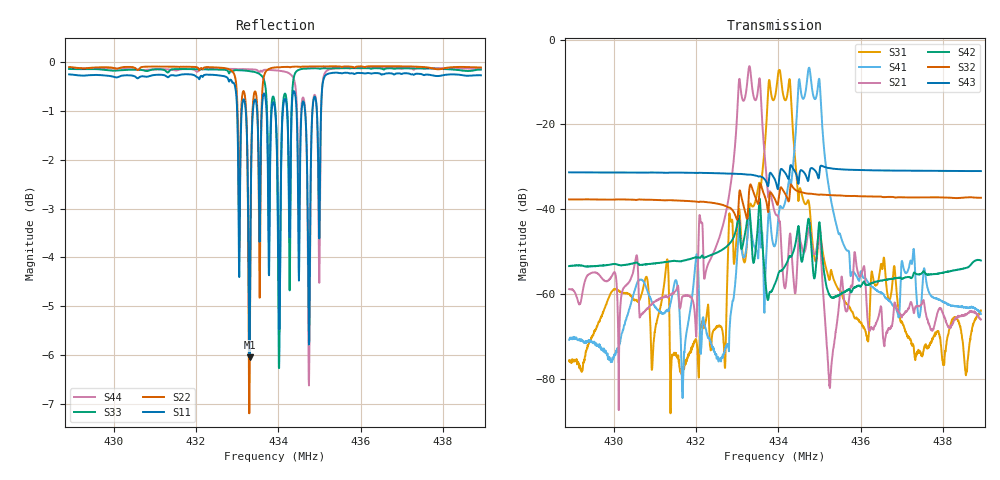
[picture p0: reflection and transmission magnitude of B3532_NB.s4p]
! Matrix data file written by TouchstoneData, EPCOS AG
! FILENAME: "newformat_LZ04A_NB.s4p"
! COMMENT: "(LZ04A_NB.s4p) Epcos AG 31.01.2012 10:23:42"
! INFO: nport=4, nfreq=1601
! DATE: "Tue Jan 31 14:53:53 2012"
! USER: "Wilfried Schott"
! port | pin | signal
!  1  |  1  |  IN
!  2  |  5  |  OUT CH3
!  3  |  6  |  OUT CH1
!  4  |  7  |  OUT CH2
# MHZ S MA R 50
! freq  magS11 angS11  magS12 angS12  magS13 angS13  magS14 angS14  ...
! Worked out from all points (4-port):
!   1601 points, 428.92 MHz to 438.92 MHz, reference 50 ohm
!   strongest paths, dB at 428.92 MHz, 431.42 MHz, 433.92 MHz, 436.42 MHz, 438.92 MHz:
!     S43: -31.3, -31.3, -33.0, -30.8, -31.0
!     S32: -37.7, -37.9, -37.7, -37.0, -37.3
!     S42: -53.4, -52.2, -57.6, -57.0, -52.1
!     S21: -58.8, -59.9, -40.8, -65.7, -66.0
!     S41: -70.7, -60.5, -48.6, -59.4, -64.7
!     S31: -75.6, -74.3, -13.4, -57.1, -63.9
!   lowest |S11| = -6.0 dB at 433.3 MHz (marker M1), VSWR 2.99, Z = 57.7 - j61.3 ohm
!   |S11| at or under -10 dB: nowhere
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428.92  0.9713 -52.7  0.001137 -155.7  0.0001655 176.6  0.0003077 79.5
        0.001145 -156.1  0.9882 -21.8  0.01307 71.4  0.002148 -146.9
        0.0001659 -179.7  0.01308 71.4  0.9836 -22.3  0.02716 67.8
        0.0002902 78.6  0.00214 -146.8  0.0273 67.7  0.9859 -21.3
431.9762  0.9684 -55.3  0.0005562 -123.7  0.0002759 -163.9  0.002003 149.9
          0.0005524 -122.4  0.9884 -23.2  0.01236 70.9  0.002707 -143.8
          0.0002863 -164.6  0.01235 70.9  0.9832 -23.1  0.02667 67.2
          0.001995 149.8  0.002711 -143.7  0.02679 67.3  0.9806 -22.0
433.3013  0.4984 -53.2  0.4883 -44.4  0.0106 -58.2  0.007857 -63.1
          0.4869 -44.3  0.4484 -14.0  0.01807 112.7  0.009829 155.8
          0.01062 -58.1  0.01806 112.7  0.9786 -25.6  0.02551 66.2
          0.007896 -63.2  0.009852 155.7  0.02562 66.3  0.9829 -22.8
434.0263  0.5322 -49.7  0.007198 15.6  0.4389 -42.3  0.009768 -28.5
          0.007166 15.0  0.9875 -17.6  0.01509 99.0  0.001848 -156.3
          0.4396 -42.3  0.01502 98.6  0.5032 -14.6  0.02406 95.5
          0.009704 -28.7  0.001831 -156.3  0.02421 95.3  0.9795 -24.7
434.745  0.5138 -47.3  0.006019 -48.7  0.01199 25.6  0.4666 -34.4
         0.006068 -48.5  0.9894 -19.6  0.01529 73.0  0.007618 151.4
         0.012 25.5  0.01528 73.0  0.9847 -18.2  0.0245 89.0
         0.4666 -34.4  0.007595 151.2  0.02452 89.1  0.4665 -19.2
435.245  0.9736 -43.5  8.212e-05 149.8  0.001476 84.0  0.01603 66.6
         8.516e-05 145.8  0.9898 -20.2  0.01474 71.8  0.0009605 136.9
         0.001484 84.0  0.01472 71.9  0.9851 -19.9  0.03041 71.8
         0.01604 66.4  0.0009814 136.2  0.0305 71.9  0.983 -15.0
438.92  0.9692 -51.6  0.0004995 -167.1  0.0006302 114.8  0.0005817 8.7
        0.0005026 -169.1  0.9871 -21.6  0.01371 72.9  0.002487 -160.7
        0.0006419 113.6  0.01368 72.7  0.9824 -22.0  0.0281 68.1
        0.0005847 7.3  0.002495 -160.7  0.02824 68.2  0.9828 -21.2
